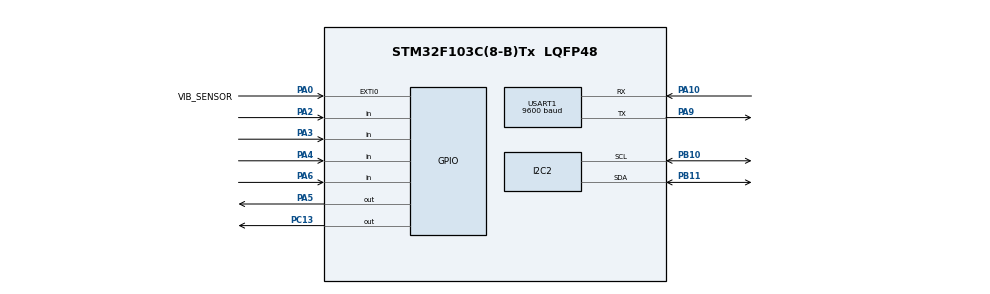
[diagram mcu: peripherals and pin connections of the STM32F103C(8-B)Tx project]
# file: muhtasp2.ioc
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Mcu.Family=STM32F1
Mcu.Name=STM32F103C(8-B)Tx
Mcu.Package=LQFP48
NVIC.EXTI0_IRQn=true\:0\:0\:false\:false\:true\:true\:true\:true
NVIC.PriorityGroup=NVIC_PRIORITYGROUP_4
PA0-WKUP.GPIO_Label=VIB_SENSOR
PA0-WKUP.GPIO_PuPd=GPIO_PULLUP
PA0-WKUP.Signal=GPXTI0
PA10.Mode=Asynchronous
PA10.Signal=USART1_RX
PA13.Mode=Serial_Wire
PA13.Signal=SYS_JTMS-SWDIO
PA14.Mode=Serial_Wire
PA14.Signal=SYS_JTCK-SWCLK
PA2.Signal=GPIO_Input
PA3.Signal=GPIO_Input
PA4.Signal=GPIO_Input
PA5.Signal=GPIO_Output
PA6.Signal=GPIO_Input
PA9.Mode=Asynchronous
PA9.Signal=USART1_TX
PB10.Mode=I2C
PB10.Signal=I2C2_SCL
PB11.Mode=I2C
PB11.Signal=I2C2_SDA
PC13-TAMPER-RTC.Signal=GPIO_Output
ProjectManager.HeapSize=0x200
ProjectManager.StackSize=0x400
ProjectManager.TargetToolchain=STM32CubeIDE
RCC.APB1Freq_Value=8000000
RCC.APB2Freq_Value=8000000
USART1.BaudRate=9600
USART1.VirtualMode=VM_ASYNC
board=custom

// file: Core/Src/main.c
/* USER CODE BEGIN Header */
/**
  ******************************************************************************
  * @file           : main.c
  * @brief          : Main program body
  ******************************************************************************
  * @attention
  *
  * Copyright (c) 2025 STMicroelectronics.
  * All rights reserved.
  *
  * This software is licensed under terms that can be found in the LICENSE file
  * in the root directory of this software component.
  * If no LICENSE file comes with this software, it is provided AS-IS.
  *
  ******************************************************************************
  */
/* USER CODE END Header */
#include "main.h"
#include "stm32f1xx_hal.h"

/* USER CODE BEGIN Includes */
#include <string.h>
#include <stdio.h>

/* USER CODE END Includes */

I2C_HandleTypeDef hi2c2;

UART_HandleTypeDef huart1;

/* USER CODE BEGIN PV */
extern I2C_HandleTypeDef hi2c1;
extern const char* ALERT_PHONE;   // sadece bildirim
extern const char* ALERT_TEXT;

#define LCD_I2C_ADDR_0x27   (0x27 << 1)
#define LCD_I2C_ADDR_0x3F   (0x3F << 1)
#define LCD_ADDR            LCD_I2C_ADDR_0x27

#define ACTIVE_LOW          0

#define HOLD_TIME_MS        1500
#define QUIET_TO_SAFE_MS    500

#define LCD_BACKLIGHT 0x08
#define LCD_EN        0x04
#define LCD_RW        0x02
#define LCD_RS        0x01

static uint8_t lcd_backlight = LCD_BACKLIGHT;

static HAL_StatusTypeDef pcf8574_write(uint8_t data) {
    return HAL_I2C_Master_Transmit(&hi2c2, LCD_ADDR, &data, 1, 20);
}
static void lcd_pulse(uint8_t data) {
    pcf8574_write(data | LCD_EN | lcd_backlight);
    HAL_Delay(1);
    pcf8574_write((data & ~LCD_EN) | lcd_backlight);
    HAL_Delay(1);
}
static void lcd_write4(uint8_t nibble, uint8_t rs) {
    uint8_t d = (nibble & 0xF0) | (rs ? LCD_RS : 0x00);
    pcf8574_write(d | lcd_backlight);
    lcd_pulse(d);
}
static void lcd_send(uint8_t val, uint8_t rs) {
    lcd_write4(val & 0xF0, rs);
    lcd_write4((val << 4) & 0xF0, rs);
}
static void lcd_cmd(uint8_t cmd) { lcd_send(cmd, 0); HAL_Delay(2); }
static void lcd_data(uint8_t dt) { lcd_send(dt, 1); }
static void lcd_clear(void) { lcd_cmd(0x01); HAL_Delay(2); }
static void lcd_set_cursor(uint8_t c, uint8_t r) {
    static const uint8_t row_offsets[] = {0x00, 0x40, 0x14, 0x54};
    lcd_cmd(0x80 | (c + row_offsets[r]));
}
static void lcd_print(const char *s) { while (*s) lcd_data((uint8_t)*s++); }
static void lcd_init(void) {
    HAL_Delay(50);
    lcd_write4(0x30,0); HAL_Delay(5);
    lcd_write4(0x30,0); HAL_Delay(5);
    lcd_write4(0x30,0); HAL_Delay(5);
    lcd_write4(0x20,0); HAL_Delay(5); // 4-bit
    lcd_cmd(0x28); // 4-bit, 2 satır
    lcd_cmd(0x0C); // display on, cursor off
    lcd_clear();
    lcd_cmd(0x06); // entry mode
}

/* ---- Uygulama durumu ---- */
static inline uint32_t millis(void){ return HAL_GetTick(); }
volatile uint32_t lastPulseMs = 0;
uint8_t alarmShown = 0;
uint32_t alarmUntil = 0, quietAccum = 0;

/* Kısa yardımcılar: LED/Buzzer */
static void LED_On(void)  { HAL_GPIO_WritePin(GPIOC, GPIO_PIN_13, GPIO_PIN_SET); }
static void LED_Off(void) { HAL_GPIO_WritePin(GPIOC, GPIO_PIN_13, GPIO_PIN_RESET);   }
static void buzzer_on(void)  { HAL_GPIO_WritePin(GPIOA, GPIO_PIN_5, GPIO_PIN_SET); }
static void buzzer_off(void) { HAL_GPIO_WritePin(GPIOA, GPIO_PIN_5, GPIO_PIN_RESET); }
HAL_StatusTypeDef GSM_SendSMS(const char* number, const char* text);
static void alarmOn(void)
{
    if (!alarmShown)
    {
        alarmShown = 1;
        lcd_set_cursor(0,0);
        lcd_print("DEPREM OLUYOR!");

        GSM_SendSMS(ALERT_PHONE, ALERT_TEXT);  // <-- SMS sadece buradan gidecek
    }

    LED_On();
    buzzer_on();
}

static void alarmOff(void) {
    if (alarmShown) {  alarmShown = 0; }
    lcd_set_cursor(0,0); lcd_print("Guvenli Mod  ");

    LED_Off();
    buzzer_off();
}

uint32_t btn_msg_time = 0;
char btn_msg[17] = "                ";
// --- MENÜ DURUM MAKİNESİ ---
typedef enum {
    MENU_BOOT,
    MENU_MAIN,
    MENU_START,
    MENU_SETTINGS
} MenuState;

MenuState currentMenu = MENU_BOOT;

// --- MENÜ SEÇİM DEĞİŞKENLERİ ---
uint8_t menuMainSelection = 0;      // 0 = Start, 1 = Settings
uint8_t menuSettingsSelection = 0;  // 0 = Numara1, 1 = Numara2
uint8_t activeNumber = 0;           // GSM'e mesaj gidecek numara
// GSM için kullanılacak telefon numaraları

const char* ALERT_PHONE = "+90XXXXXXXXXX";   // <-- kendi telefon numaranizi yazin
const char* ALERT_TEXT  = "Deprem algilandi!";

uint32_t lastSmsMs = 0;                 // Son SMS gönderim zamanı
const uint32_t SMS_COOLDOWN_MS = 60000; // 60 saniye bekleme süresi
 // 60 saniye bekleme süresi

// --- BUTON EVENT FLAGLERİ ---
uint8_t up_pressed = 0;
uint8_t down_pressed = 0;
uint8_t enter_pressed = 0;
uint8_t back_pressed = 0;

    // --- POLLING buton durumları ---
    uint8_t up_prev=0, down_prev=0, enter_prev=0, back_prev=0;
    uint32_t up_last=0, down_last=0, enter_last=0, back_last=0;
    const uint32_t DEBOUNCE_MS = 120;   // çift basmayı önler
    extern UART_HandleTypeDef huart1;   // Eğer zaten yoksa ekle
    uint8_t gsm_connected = 0;
    char gsm_resp[32];

/* USER CODE END PV */

void SystemClock_Config(void);
static void MX_GPIO_Init(void);
static void MX_I2C2_Init(void);
static void MX_USART1_UART_Init(void);
/* USER CODE BEGIN PFP */
void Menu_HandleButtons(void);
void Menu_Draw(void);

/* USER CODE END PFP */

int main(void)
{

  /* MCU Configuration--------------------------------------------------------*/

  /* Reset of all peripherals, Initializes the Flash interface and the Systick. */
  HAL_Init();

  /* Configure the system clock */
  SystemClock_Config();

  /* Initialize all configured peripherals */
  MX_GPIO_Init();
  MX_I2C2_Init();
  MX_USART1_UART_Init();
  /* USER CODE BEGIN 2 */
  lcd_init();
  alarmOff();        // açılış ekranı
  buzzer_off();      // emniyet
  LED_Off();

  /* USER CODE END 2 */

  /* Infinite loop */
  /* USER CODE BEGIN WHILE */
  /* USER CODE BEGIN WHILE */
  uint32_t last = millis();
  while (1)
  {
      uint32_t now = millis();
      uint32_t dt  = now - last; if (dt > 20) dt = 20; last = now;

      uint32_t sincePulse = now - lastPulseMs;

      if (sincePulse < QUIET_TO_SAFE_MS) {
          alarmOn();
          alarmUntil = now + HOLD_TIME_MS;
          quietAccum = 0;
      } else {
          quietAccum += dt;
      }

      if ((now > alarmUntil) && (quietAccum >= QUIET_TO_SAFE_MS)) {
          alarmOff();
      }

      HAL_Delay(2);

      // ===== BUTON POLLING (INPUT) BURAYA =====
      // ===== BUTON POLLING (INPUT) =====
      uint32_t tnow = millis();

      // anlık okumalar
      uint8_t up_now    = HAL_GPIO_ReadPin(GPIOA, GPIO_PIN_2);
      uint8_t down_now  = HAL_GPIO_ReadPin(GPIOA, GPIO_PIN_3);
      uint8_t enter_now = HAL_GPIO_ReadPin(GPIOA, GPIO_PIN_4);
      uint8_t back_now  = HAL_GPIO_ReadPin(GPIOA, GPIO_PIN_6);

      // RISING edge + debounce -> event flag set et
      if(up_now && !up_prev && (tnow - up_last > DEBOUNCE_MS)){
          up_last = tnow;
          up_pressed = 1;
      }
      if(down_now && !down_prev && (tnow - down_last > DEBOUNCE_MS)){
          down_last = tnow;
          down_pressed = 1;
      }
      if(enter_now && !enter_prev && (tnow - enter_last > DEBOUNCE_MS)){
          enter_last = tnow;
          enter_pressed = 1;
      }
      if(back_now && !back_prev && (tnow - back_last > DEBOUNCE_MS)){
          back_last = tnow;
          back_pressed = 1;
      }

      // prev güncelle
      up_prev    = up_now;
      down_prev  = down_now;
      enter_prev = enter_now;
      back_prev  = back_now;

      // 2. satıra artık test yazısı yazmıyoruz — menü sistemi burayı yönetecek
      Menu_HandleButtons();
      Menu_Draw();
      HAL_Delay(2);
  }

  }

    /* USER CODE END WHILE */

void SystemClock_Config(void)
{
  RCC_OscInitTypeDef RCC_OscInitStruct = {0};
  RCC_ClkInitTypeDef RCC_ClkInitStruct = {0};

  /** Initializes the RCC Oscillators according to the specified parameters
  * in the RCC_OscInitTypeDef structure.
  */
  RCC_OscInitStruct.OscillatorType = RCC_OSCILLATORTYPE_HSI;
  RCC_OscInitStruct.HSIState = RCC_HSI_ON;
  RCC_OscInitStruct.HSICalibrationValue = RCC_HSICALIBRATION_DEFAULT;
  RCC_OscInitStruct.PLL.PLLState = RCC_PLL_NONE;
  if (HAL_RCC_OscConfig(&RCC_OscInitStruct) != HAL_OK)
  {
    Error_Handler();
  }

  /** Initializes the CPU, AHB and APB buses clocks
  */
  RCC_ClkInitStruct.ClockType = RCC_CLOCKTYPE_HCLK|RCC_CLOCKTYPE_SYSCLK
                              |RCC_CLOCKTYPE_PCLK1|RCC_CLOCKTYPE_PCLK2;
  RCC_ClkInitStruct.SYSCLKSource = RCC_SYSCLKSOURCE_HSI;
  RCC_ClkInitStruct.AHBCLKDivider = RCC_SYSCLK_DIV1;
  RCC_ClkInitStruct.APB1CLKDivider = RCC_HCLK_DIV1;
  RCC_ClkInitStruct.APB2CLKDivider = RCC_HCLK_DIV1;

  if (HAL_RCC_ClockConfig(&RCC_ClkInitStruct, FLASH_LATENCY_0) != HAL_OK)
  {
    Error_Handler();
  }
}

static void MX_I2C2_Init(void)
{

  hi2c2.Instance = I2C2;
  hi2c2.Init.ClockSpeed = 100000;
  hi2c2.Init.DutyCycle = I2C_DUTYCYCLE_2;
  hi2c2.Init.OwnAddress1 = 0;
  hi2c2.Init.AddressingMode = I2C_ADDRESSINGMODE_7BIT;
  hi2c2.Init.DualAddressMode = I2C_DUALADDRESS_DISABLE;
  hi2c2.Init.OwnAddress2 = 0;
  hi2c2.Init.GeneralCallMode = I2C_GENERALCALL_DISABLE;
  hi2c2.Init.NoStretchMode = I2C_NOSTRETCH_DISABLE;
  if (HAL_I2C_Init(&hi2c2) != HAL_OK)
  {
    Error_Handler();
  }

}

static void MX_USART1_UART_Init(void)
{

  huart1.Instance = USART1;
  huart1.Init.BaudRate = 9600;
  huart1.Init.WordLength = UART_WORDLENGTH_8B;
  huart1.Init.StopBits = UART_STOPBITS_1;
  huart1.Init.Parity = UART_PARITY_NONE;
  huart1.Init.Mode = UART_MODE_TX_RX;
  huart1.Init.HwFlowCtl = UART_HWCONTROL_NONE;
  huart1.Init.OverSampling = UART_OVERSAMPLING_16;
  if (HAL_UART_Init(&huart1) != HAL_OK)
  {
    Error_Handler();
  }

}

static void MX_GPIO_Init(void)
{
  GPIO_InitTypeDef GPIO_InitStruct = {0};

  /* GPIO Ports Clock Enable */
  __HAL_RCC_GPIOC_CLK_ENABLE();
  __HAL_RCC_GPIOA_CLK_ENABLE();
  __HAL_RCC_GPIOB_CLK_ENABLE();

  /*Configure GPIO pin Output Level */
  HAL_GPIO_WritePin(GPIOC, GPIO_PIN_13, GPIO_PIN_RESET);

  /*Configure GPIO pin Output Level */
  HAL_GPIO_WritePin(GPIOA, GPIO_PIN_5, GPIO_PIN_RESET);

  /*Configure GPIO pin : PC13 */
  GPIO_InitStruct.Pin = GPIO_PIN_13;
  GPIO_InitStruct.Mode = GPIO_MODE_OUTPUT_PP;
  GPIO_InitStruct.Pull = GPIO_NOPULL;
  GPIO_InitStruct.Speed = GPIO_SPEED_FREQ_LOW;
  HAL_GPIO_Init(GPIOC, &GPIO_InitStruct);

  /*Configure GPIO pin : VIB_SENSOR_Pin */
  GPIO_InitStruct.Pin = VIB_SENSOR_Pin;
  GPIO_InitStruct.Mode = GPIO_MODE_IT_RISING;
  GPIO_InitStruct.Pull = GPIO_PULLUP;
  HAL_GPIO_Init(VIB_SENSOR_GPIO_Port, &GPIO_InitStruct);

  /*Configure GPIO pins : PA2 PA3 PA4 PA6 */
  GPIO_InitStruct.Pin = GPIO_PIN_2|GPIO_PIN_3|GPIO_PIN_4|GPIO_PIN_6;
  GPIO_InitStruct.Mode = GPIO_MODE_INPUT;
  GPIO_InitStruct.Pull = GPIO_NOPULL;
  HAL_GPIO_Init(GPIOA, &GPIO_InitStruct);

  /*Configure GPIO pin : PA5 */
  GPIO_InitStruct.Pin = GPIO_PIN_5;
  GPIO_InitStruct.Mode = GPIO_MODE_OUTPUT_PP;
  GPIO_InitStruct.Pull = GPIO_NOPULL;
  GPIO_InitStruct.Speed = GPIO_SPEED_FREQ_LOW;
  HAL_GPIO_Init(GPIOA, &GPIO_InitStruct);

  /* EXTI interrupt init*/
  HAL_NVIC_SetPriority(EXTI0_IRQn, 0, 0);
  HAL_NVIC_EnableIRQ(EXTI0_IRQn);

}

/* USER CODE BEGIN 4 */
void HAL_GPIO_EXTI_Callback(uint16_t GPIO_Pin)
{
    if (GPIO_Pin == GPIO_PIN_0){
        lastPulseMs = millis();
    }

}
void Menu_HandleButtons(void)
{
    // Event flag'leri lokal değişkene alalım (tek turda kullanıp sıfırlayacağız)
    uint8_t up    = up_pressed;
    uint8_t down  = down_pressed;
    uint8_t enter = enter_pressed;
    uint8_t back  = back_pressed;

    // Event'leri tükettiğimiz için flag'leri sıfırlıyoruz
    up_pressed = 0;
    down_pressed = 0;
    enter_pressed = 0;
    back_pressed = 0;

    switch(currentMenu)
    {
        case MENU_BOOT:
            // Açılış ekranı: herhangi bir tuşa basılırsa menüye geç
            if (up || down || enter || back) {
                currentMenu = MENU_MAIN;
                menuMainSelection = 0;  // Start seçili gelsin
            }
            break;

        case MENU_MAIN:
            // UP / DOWN ile Start <-> Settings arasında geç
            if (up || down) {
                if (menuMainSelection == 0)
                    menuMainSelection = 1;   // Settings
                else
                    menuMainSelection = 0;   // Start
            }

            // ENTER ile seçili menüye gir
            if (enter) {
                if (menuMainSelection == 0) {
                    // Start seçili -> deprem ekranına dön
                    currentMenu = MENU_START;
                } else {
                    // Settings seçili -> numara seçim ekranına gir
                    currentMenu = MENU_SETTINGS;
                }
            }

            // BACK ile açılış ekranına geri dön
            if (back) {
                currentMenu = MENU_BOOT;
            }
            break;

        case MENU_SETTINGS:
        	// UP -> bir üst numaraya
        	    if (up_pressed)
        	    {
        	        up_pressed = 0;
        	        if (menuSettingsSelection > 0)
        	            menuSettingsSelection--;
        	    }

        	    // DOWN -> bir alt numaraya
        	    if (down_pressed)
        	    {
        	        down_pressed = 0;
        	        if (menuSettingsSelection < 1)
        	            menuSettingsSelection++;
        	    }

        	    // ENTER -> seçili numarayı aktif yap ve KISA SÜRELİ "seçildi" yaz
        	    if (enter_pressed)
        	    {
        	        enter_pressed = 0;

        	        // Seçili numarayı aktif numara yap
        	        activeNumber = menuSettingsSelection;

        	        // LCD'yi temizleyip SEÇİLDİ mesajını göster
        	        lcd_clear();
        	        lcd_set_cursor(0,0);
        	        lcd_print("Numara ");
        	        if (activeNumber == 0)
        	            lcd_print("1 secildi");
        	        else
        	            lcd_print("2 secildi");

        	        // 0.8 saniye görünsün
        	        HAL_Delay(800);

        	        // Sonra ana menüye dön
        	        currentMenu = MENU_MAIN;
        	    }

        	    // BACK -> direkt ana menüye dön
        	    if (back_pressed)
        	    {
        	        back_pressed = 0;
        	        currentMenu = MENU_MAIN;
        	    }
            break;

        case MENU_START:
            // Deprem ekranı aktif, sadece BACK ile ana menüye dönebilelim
            if (back)
            {
                back = 0;              // bayrağı sıfırla
                currentMenu = MENU_MAIN;
            }

            // Burada artık ENTER ile SMS gönderme yok.
            // SMS tetiklemesi sadece sensör kodunda (alarmOn içinde) olacak.

            break;

    }
}

void Menu_Draw(void)
{
    // Sadece 2. satırı yönetiyoruz. 1. satır deprem kodunda.
    lcd_set_cursor(0,1);

    switch(currentMenu)
    {
    case MENU_BOOT:

        if (gsm_connected)
        {
            lcd_print("GSM Connected ");   // bağlı
        }
        else
        {
            lcd_print("GSM Kapali   ");    // bağlı değil
        }

        break;

        case MENU_MAIN:
            // Ana menü: Start / Settings
            if (menuMainSelection == 0) {
                // Start seçili
                lcd_print(">Start  Settings");
            } else {
                // Settings seçili
                lcd_print(" Start >Settings");
            }
            break;

        case MENU_SETTINGS:
            // Numara seçim ekranı (şimdilik Num1 / Num2)
            if (menuSettingsSelection == 0) {
                // Numara1 seçili
                lcd_print(">Num1   Num2   ");
            } else {
                // Numara2 seçili
                lcd_print(" Num1  >Num2   ");
            }
            break;

        case MENU_START:
            // Deprem ekranı aktifken 2. satır
            lcd_print("Deprem Modu    ");
            break;
    }
}
HAL_StatusTypeDef GSM_SendSMS(const char* number, const char* text)
{
	char cmd[64];

	    // 1) Text mode'a geç
	    const char* setTextMode = "AT+CMGF=1\r\n";
	    HAL_UART_Transmit(&huart1, (uint8_t*)setTextMode, strlen(setTextMode), 1000);
	    HAL_Delay(300);

	    // 2) Hangi numaraya SMS gidecek?
	    int len = snprintf(cmd, sizeof(cmd), "AT+CMGS=\"%s\"\r\n", number);
	    if (len <= 0) {
	        return HAL_ERROR;
	    }
	    HAL_UART_Transmit(&huart1, (uint8_t*)cmd, len, 1000);
	    HAL_Delay(300);

	    // 3) Mesaj içeriği
	    HAL_UART_Transmit(&huart1, (uint8_t*)text, strlen(text), 1000);

	    // 4) Ctrl+Z (0x1A) ile SMS’i gönder
	    uint8_t ctrlZ = 26;
	    HAL_UART_Transmit(&huart1, &ctrlZ, 1, 1000);

	    // Modüle zaman tanıyalım (kaba ama iş görür)
	    HAL_Delay(5000);

	    return HAL_OK;
}

/* USER CODE BEGIN 4 */

/* USER CODE BEGIN 4 */

// Basit AT testi yapan fonksiyon

/* USER CODE END 4 */

/* USER CODE END 4 */

/* USER CODE END 4 */

void Error_Handler(void)
{
  __disable_irq();
  while (1)
  {
  }
}
